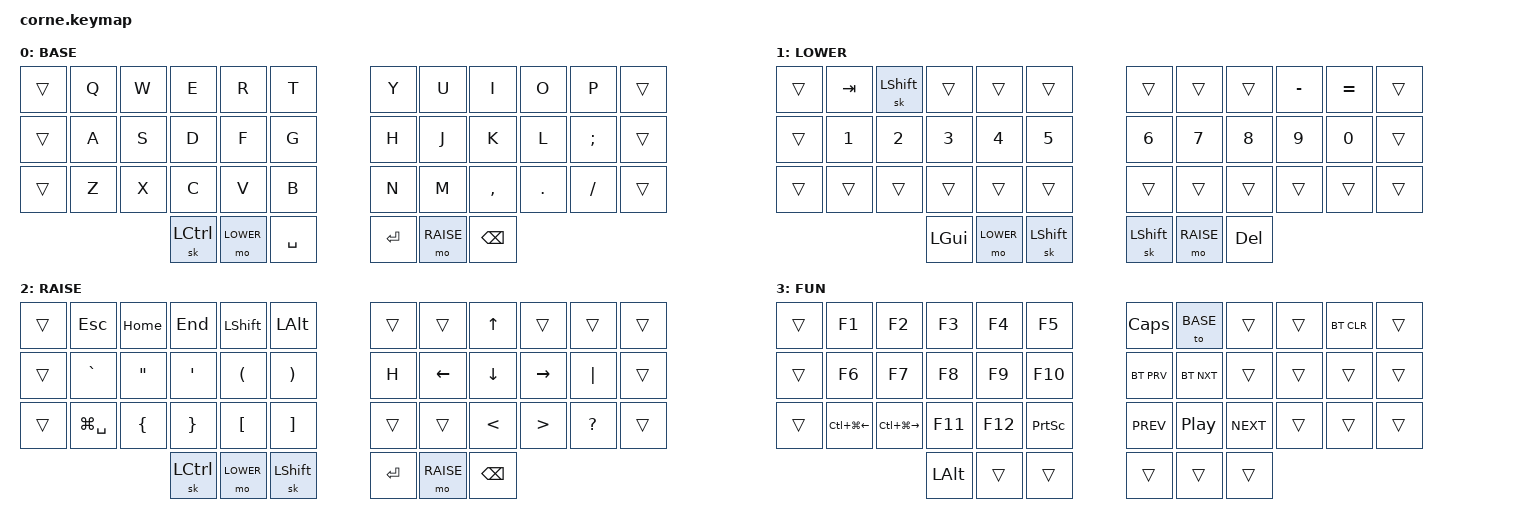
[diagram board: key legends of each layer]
#include <behaviors.dtsi>
#include <dt-bindings/zmk/keys.h>
#include <dt-bindings/zmk/bt.h>

#define BASE    0
#define LOWER   1
#define RAISE   2
#define FUN     3

#define LEFT_W  LC(LG(LEFT))    /* Win+Ctrl+Left  */
#define RIGHT_W LC(LG(RIGHT))   /* Win+Ctrl+Right */

 / {
    keymap {
        compatible = "zmk,keymap";

        // ===================== Layer 0: BASE =====================
        base_layer {
            display-name = "BASE";
            bindings = <
                // ╭───────────┬───────────┬───────────┬───────────┬────────────┬────────────╮ ╭───────────┬─────────────┬────────────┬────────────┬───────────┬────────────╮
                      &trans        &kp Q       &kp W       &kp E       &kp R         &kp T        &kp Y         &kp U       &kp I         &kp O       &kp P        &trans
                // ├───────────┼───────────┼───────────┼───────────┼────────────┼────────────┤ ├───────────┼─────────────┼────────────┼────────────┼────────────┼───────────┤
                      &trans        &kp A       &kp S       &kp D       &kp F         &kp G        &kp H         &kp J       &kp K         &kp L      &kp SEMI      &trans
                // ├───────────┼───────────┼───────────┼───────────┼────────────┼────────────┤ ├───────────┼─────────────┼────────────┼────────────┼────────────┼───────────┤
                      &trans        &kp Z       &kp X       &kp C       &kp V         &kp B        &kp N         &kp M      &kp COMMA     &kp DOT     &kp FSLH     &trans
                // ╰───────────┴───────────┴───────────┴───────────┴────────────┴────────────┴─┴───────────┴─────────────┴────────────┴────────────┴───────────┴────────────╯
                                    &sk LCTRL   &mo LOWER    &kp SPACE                                  &kp RET      &mo RAISE    &kp BSPC
            >;
        };

        // ===================== Layer 1: LOWER ====================
        lower_layer {
            display-name = "LOWER";
            bindings = <
                // ╭───────────┬───────────┬───────────┬───────────┬────────────┬────────────╮ ╭───────────┬─────────────┬────────────┬────────────┬───────────┬────────────╮
                     &trans       &kp TAB   &sk LSHIFT    &trans      &trans        &trans       &trans        &trans        &trans      &kp MINUS    &kp EQUAL      &trans
                // ├───────────┼───────────┼───────────┼───────────┼────────────┼────────────┤ ├───────────┼─────────────┼────────────┼────────────┼────────────┼───────────┤
                      &trans       &kp N1      &kp N2      &kp N3      &kp N4       &kp N5        &kp N6        &kp N7        &kp N8        &kp N9     &kp N0       &trans
                // ├───────────┼───────────┼───────────┼───────────┼────────────┼────────────┤ ├───────────┼─────────────┼────────────┼────────────┼────────────┼───────────┤
                      &trans       &trans      &trans      &trans      &trans        &trans      &trans        &trans        &trans        &trans     &trans       &trans
                // ╰───────────┴───────────┴───────────┴───────────┴────────────┴────────────┴─┴───────────┴─────────────┴────────────┴────────────┴───────────┴────────────╯
                                    &kp LGUI   &mo LOWER    &sk LSHIFT                                &sk LSHIFT      &mo RAISE    &kp DEL
            >;
        };

        // ===================== Layer 2: RAISE ====================
        raise_layer {
            display-name = "RAISE";
            bindings = <
                // ╭───────────┬───────────┬───────────┬───────────┬────────────┬────────────╮ ╭───────────┬─────────────┬────────────┬────────────┬───────────┬────────────╮
                       &trans     &kp ESC     &kp HOME    &kp END    &kp LSHIFT    &kp LALT         &trans        &trans     &kp UP        &trans      &trans        &trans
                // ├───────────┼───────────┼───────────┼───────────┼────────────┼────────────┤ ├───────────┼─────────────┼────────────┼────────────┼────────────┼───────────┤
                      &trans     &kp GRAVE    &kp DQT    &kp SQT     &kp LPAR      &kp RPAR        &kp H       &kp LEFT      &kp DOWN    &kp RIGHT     &kp PIPE     &trans
                // ├───────────┼───────────┼───────────┼───────────┼────────────┼────────────┤ ├───────────┼─────────────┼────────────┼────────────┼────────────┼───────────┤
                     &trans    &kp LG(SPACE)   &kp LBRC   &kp RBRC     &kp LBKT     &kp RBKT         &trans       &trans       &kp LT       &kp GT     &kp QMARK      &trans
                // ╰───────────┴───────────┴───────────┴───────────┴────────────┴────────────┴─┴───────────┴─────────────┴────────────┴────────────┴───────────┴────────────╯
                                    &sk LCTRL   &mo LOWER   &sk LSHIFT                                 &kp RET      &mo RAISE    &kp BSPC
            >;
        };

        // ===================== Layer 3: FUN =====================
        fun_layer {
            display-name = "FUN";
            bindings = <
                // ╭───────────┬───────────┬───────────┬───────────┬────────────┬────────────╮ ╭───────────┬─────────────┬────────────┬────────────┬───────────┬────────────╮
                      &trans       &kp F1      &kp F2      &kp F3      &kp F4        &kp F5      &kp CAPS      &to BASE      &trans       &trans      &bt BT_CLR   &trans
                // ├───────────┼───────────┼───────────┼───────────┼────────────┼────────────┤ ├───────────┼─────────────┼────────────┼────────────┼────────────┼───────────┤
                      &trans       &kp F6      &kp F7      &kp F8      &kp F9        &kp F10     &bt BT_PRV   &bt BT_NXT     &trans        &trans        &trans        &trans
                // ├───────────┼───────────┼───────────┼───────────┼────────────┼────────────┤ ├───────────┼─────────────┼────────────┼────────────┼────────────┼───────────┤
                     &trans     &kp LEFT_W  &kp RIGHT_W  &kp F11     &kp F12       &kp PSCRN    &kp C_PREV  &kp C_PLAY_PAUSE &kp C_NEXT   &trans      &trans      &trans 
                // ╰───────────┴───────────┴───────────┴───────────┴────────────┴────────────┴─┴───────────┴─────────────┴────────────┴────────────┴───────────┴────────────╯
                                    &kp LALT    &trans  &trans                                     &trans        &trans    &trans
            >;
        };
    };

    // ===================== Combos =====================
   combos {
       compatible = "zmk,combos";
   
       combo_fun {
           timeout-ms = <50>;
           key-positions = <37 40>;
           layers = <BASE>;
           bindings = <&to FUN>;
       };
   
       combo_base {
           timeout-ms = <50>;
           key-positions = <37 40>;
           layers = <FUN>;
           bindings = <&to BASE>;
       };
   
       // One-tap toggle (no double-tap needed)
       combo_alt_toggle {
           timeout-ms = <50>;
           key-positions = <2 3>;
           layers = <BASE>;
           bindings = <&kt LALT>;
       };
   
       combo_shift_toggle {
           timeout-ms = <50>;
           key-positions = <13 14>;
           layers = <BASE>;
           bindings = <&sk LSHIFT>;
       };
   
       combo_tab_fwd {
           timeout-ms = <50>;
           key-positions = <3 4>;
           layers = <BASE>;
           bindings = <&kp TAB>;
       };
   
       combo_tab_back {
           timeout-ms = <50>;
           key-positions = <1 2>;
           layers = <BASE>;
           bindings = <&kp LS(TAB)>;
       };
   
      

    };

};
